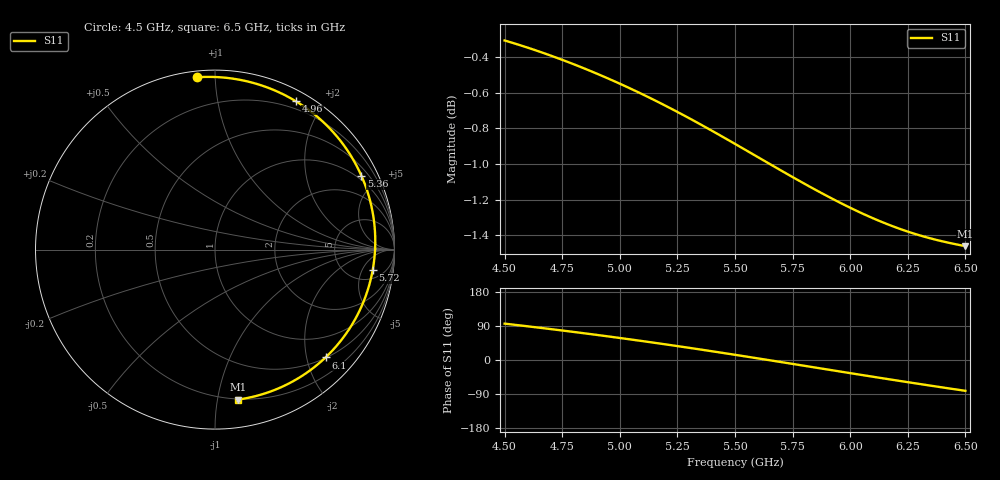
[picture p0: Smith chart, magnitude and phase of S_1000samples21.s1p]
! TOUCHSTONE file generated by CST MICROWAVE STUDIO
! Date and time: Wed Oct 26 17:32:34 2022
! Project name: L.cst
! Parameters = {Di=1.27; Epsilon_r=1.56; InnerDiameter=1.27; Length=2; Lf=10; Lg=60; OuterConductorThickness=0.2921; OuterDiameter=3.6; Wf=3; Wp=41.2; de=1.5; df=6.8; g=0.8; gx=3.08783; gy=4.17346; h=2.34; hf=1.524; px=8.58511; py=11.725; w=9.7; wx=5.49729; wy=7.55155}
! Header version: 2018
! Port assignment regex: !\s*Touchstone port\s*([0-9]+)\s*=\s*(CST MWS port|CST DS port)\s*([0-9]+|Zmin|Zmax)\s*\(\"(.*)\"\)(\s*mode\s*([0-9]+))?.*
! Touchstone port assignment:
! Touchstone port 1 = CST MWS port 1 ("")
# GHz S DB R 50
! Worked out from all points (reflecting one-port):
!   101 points, 4.5 GHz to 6.5 GHz, reference 50 ohm
!   lowest |S11| = -1.5 dB at 6.5 GHz (marker M1), VSWR 11.91, Z = 9.79 - j57.2 ohm
!   phase of S11 starts at 96 deg and turns -177 deg over the sweep
!   S11 on the Smith chart (normalised r, x): 4.5 GHz: 0.03, +0.90; 4.96 GHz: 0.12, +1.68; 5.36 GHz: 0.81, +4.05; 5.72 GHz: 8, -8; 6.1 GHz: 0.51, -2.36; 6.5 GHz: 0.20, -1.14
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4.5  -0.31 95.9
4.58  -0.34 90.3
4.64  -0.36 86.0
4.76  -0.42 77.1
4.86  -0.47 69.4
4.96  -0.53 61.4
5  -0.55 58.1
5.12  -0.62 48.0
5.18  -0.66 42.9
5.26  -0.71 35.8
5.36  -0.78 26.8
5.44  -0.84 19.4
5.5  -0.89 13.7
5.56  -0.93 8.0
5.62  -0.98 2.3
5.72  -1.05 -7.4
5.76  -1.08 -11.3
5.82  -1.12 -17.1
5.88  -1.17 -23.0
5.94  -1.21 -28.8
6  -1.25 -34.7
6.1  -1.31 -44.3
6.18  -1.35 -51.9
6.26  -1.38 -59.5
6.32  -1.41 -65.0
6.38  -1.43 -70.5
6.44  -1.45 -76.0
6.5  -1.46 -81.3
